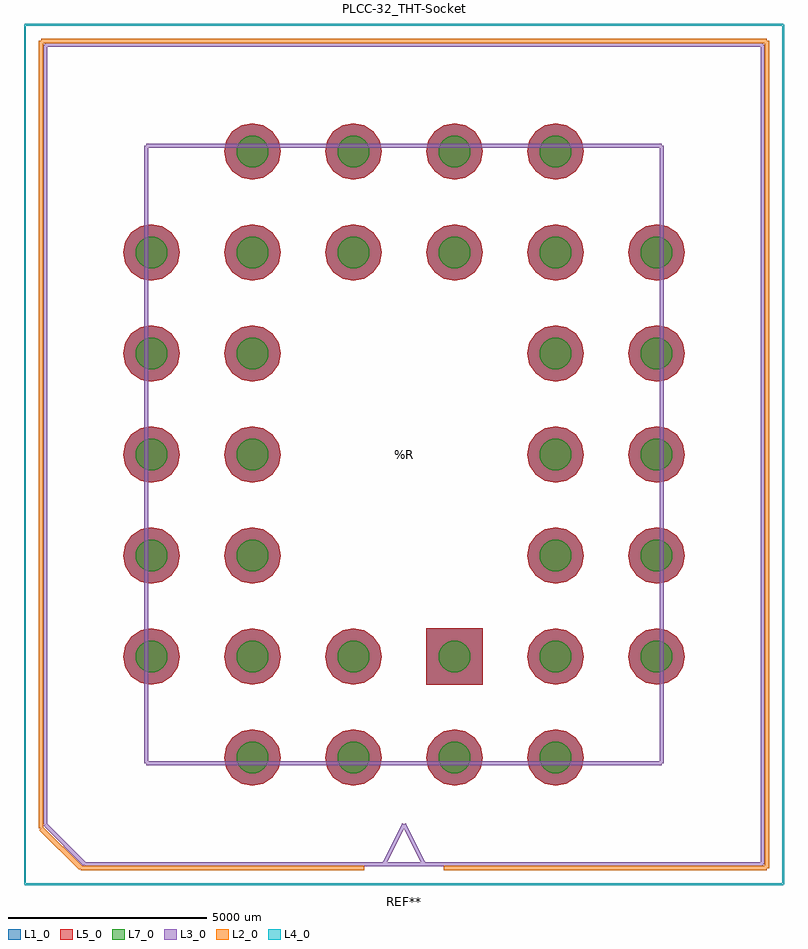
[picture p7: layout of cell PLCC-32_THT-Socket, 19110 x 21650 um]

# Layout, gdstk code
import gdstk
lib = gdstk.Library(unit=1e-6, precision=1e-09)
def R(c, l, rs):  # rectangles x0, y0, x1, y1
    for r in rs: c.add(gdstk.rectangle(r[:2], r[2:], *l))
def P(c, l, *ps):  # polygons
    for p in ps: c.add(gdstk.Polygon(p, *l))
L1_0 = (1, 0)
L2_0 = (2, 0)
L3_0 = (3, 0)
L4_0 = (4, 0)
L5_0 = (5, 0)
L7_0 = (7, 0)

plcc_32_tht_socket = lib.new_cell('PLCC-32_THT-Socket')
R(plcc_32_tht_socket, L1_0, [(-711,-711,711,711)])
P(plcc_32_tht_socket, L1_0, [(-1829,0),(-1883,272),(-2037,503),(-2268,657),(-2540,711),(-2812,657),(-3043,503),(-3197,272),(-3251,0),(-3197,-272),(-3043,-503),(-2812,-657),(-2540,-711),(-2268,-657),(-2037,-503),(-1883,-272)],
  [(3251,0),(3197,272),(3043,503),(2812,657),(2540,711),(2268,657),(2037,503),(1883,272),(1829,0),(1883,-272),(2037,-503),(2268,-657),(2540,-711),(2812,-657),(3043,-503),(3197,-272)],
  [(-1829,-2540),(-1883,-2268),(-2037,-2037),(-2268,-1883),(-2540,-1829),(-2812,-1883),(-3043,-2037),(-3197,-2268),(-3251,-2540),(-3197,-2812),(-3043,-3043),(-2812,-3197),(-2540,-3251),(-2268,-3197),(-2037,-3043),(-1883,-2812)],
  [(-4369,-2540),(-4423,-2268),(-4577,-2037),(-4808,-1883),(-5080,-1829),(-5352,-1883),(-5583,-2037),(-5737,-2268),(-5791,-2540),(-5737,-2812),(-5583,-3043),(-5352,-3197),(-5080,-3251),(-4808,-3197),(-4577,-3043),(-4423,-2812)],
  [(711,-2540),(657,-2268),(503,-2037),(272,-1883),(0,-1829),(-272,-1883),(-503,-2037),(-657,-2268),(-711,-2540),(-657,-2812),(-503,-3043),(-272,-3197),(0,-3251),(272,-3197),(503,-3043),(657,-2812)],
  [(3251,-2540),(3197,-2268),(3043,-2037),(2812,-1883),(2540,-1829),(2268,-1883),(2037,-2037),(1883,-2268),(1829,-2540),(1883,-2812),(2037,-3043),(2268,-3197),(2540,-3251),(2812,-3197),(3043,-3043),(3197,-2812)],
  [(-4369,0),(-4423,272),(-4577,503),(-4808,657),(-5080,711),(-5352,657),(-5583,503),(-5737,272),(-5791,0),(-5737,-272),(-5583,-503),(-5352,-657),(-5080,-711),(-4808,-657),(-4577,-503),(-4423,-272)],
  [(-4369,2540),(-4423,2812),(-4577,3043),(-4808,3197),(-5080,3251),(-5352,3197),(-5583,3043),(-5737,2812),(-5791,2540),(-5737,2268),(-5583,2037),(-5352,1883),(-5080,1829),(-4808,1883),(-4577,2037),(-4423,2268)],
  [(-4369,5080),(-4423,5352),(-4577,5583),(-4808,5737),(-5080,5791),(-5352,5737),(-5583,5583),(-5737,5352),(-5791,5080),(-5737,4808),(-5583,4577),(-5352,4423),(-5080,4369),(-4808,4423),(-4577,4577),(-4423,4808)],
  [(-4369,7620),(-4423,7892),(-4577,8123),(-4808,8277),(-5080,8331),(-5352,8277),(-5583,8123),(-5737,7892),(-5791,7620),(-5737,7348),(-5583,7117),(-5352,6963),(-5080,6909),(-4808,6963),(-4577,7117),(-4423,7348)],
  [(-6909,0),(-6963,272),(-7117,503),(-7348,657),(-7620,711),(-7892,657),(-8123,503),(-8277,272),(-8331,0),(-8277,-272),(-8123,-503),(-7892,-657),(-7620,-711),(-7348,-657),(-7117,-503),(-6963,-272)],
  [(-6909,2540),(-6963,2812),(-7117,3043),(-7348,3197),(-7620,3251),(-7892,3197),(-8123,3043),(-8277,2812),(-8331,2540),(-8277,2268),(-8123,2037),(-7892,1883),(-7620,1829),(-7348,1883),(-7117,2037),(-6963,2268)],
  [(-6909,5080),(-6963,5352),(-7117,5583),(-7348,5737),(-7620,5791),(-7892,5737),(-8123,5583),(-8277,5352),(-8331,5080),(-8277,4808),(-8123,4577),(-7892,4423),(-7620,4369),(-7348,4423),(-7117,4577),(-6963,4808)],
  [(-6909,7620),(-6963,7892),(-7117,8123),(-7348,8277),(-7620,8331),(-7892,8277),(-8123,8123),(-8277,7892),(-8331,7620),(-8277,7348),(-8123,7117),(-7892,6963),(-7620,6909),(-7348,6963),(-7117,7117),(-6963,7348)],
  [(-6909,10160),(-6963,10432),(-7117,10663),(-7348,10817),(-7620,10871),(-7892,10817),(-8123,10663),(-8277,10432),(-8331,10160),(-8277,9888),(-8123,9657),(-7892,9503),(-7620,9449),(-7348,9503),(-7117,9657),(-6963,9888)],
  [(-4369,10160),(-4423,10432),(-4577,10663),(-4808,10817),(-5080,10871),(-5352,10817),(-5583,10663),(-5737,10432),(-5791,10160),(-5737,9888),(-5583,9657),(-5352,9503),(-5080,9449),(-4808,9503),(-4577,9657),(-4423,9888)],
  [(-1829,10160),(-1883,10432),(-2037,10663),(-2268,10817),(-2540,10871),(-2812,10817),(-3043,10663),(-3197,10432),(-3251,10160),(-3197,9888),(-3043,9657),(-2812,9503),(-2540,9449),(-2268,9503),(-2037,9657),(-1883,9888)],
  [(711,10160),(657,10432),(503,10663),(272,10817),(0,10871),(-272,10817),(-503,10663),(-657,10432),(-711,10160),(-657,9888),(-503,9657),(-272,9503),(0,9449),(272,9503),(503,9657),(657,9888)],
  [(5791,10160),(5737,10432),(5583,10663),(5352,10817),(5080,10871),(4808,10817),(4577,10663),(4423,10432),(4369,10160),(4423,9888),(4577,9657),(4808,9503),(5080,9449),(5352,9503),(5583,9657),(5737,9888)],
  [(-4369,12700),(-4423,12972),(-4577,13203),(-4808,13357),(-5080,13411),(-5352,13357),(-5583,13203),(-5737,12972),(-5791,12700),(-5737,12428),(-5583,12197),(-5352,12043),(-5080,11989),(-4808,12043),(-4577,12197),(-4423,12428)],
  [(-1829,12700),(-1883,12972),(-2037,13203),(-2268,13357),(-2540,13411),(-2812,13357),(-3043,13203),(-3197,12972),(-3251,12700),(-3197,12428),(-3043,12197),(-2812,12043),(-2540,11989),(-2268,12043),(-2037,12197),(-1883,12428)],
  [(711,12700),(657,12972),(503,13203),(272,13357),(0,13411),(-272,13357),(-503,13203),(-657,12972),(-711,12700),(-657,12428),(-503,12197),(-272,12043),(0,11989),(272,12043),(503,12197),(657,12428)],
  [(3251,12700),(3197,12972),(3043,13203),(2812,13357),(2540,13411),(2268,13357),(2037,13203),(1883,12972),(1829,12700),(1883,12428),(2037,12197),(2268,12043),(2540,11989),(2812,12043),(3043,12197),(3197,12428)],
  [(3251,10160),(3197,10432),(3043,10663),(2812,10817),(2540,10871),(2268,10817),(2037,10663),(1883,10432),(1829,10160),(1883,9888),(2037,9657),(2268,9503),(2540,9449),(2812,9503),(3043,9657),(3197,9888)],
  [(3251,7620),(3197,7892),(3043,8123),(2812,8277),(2540,8331),(2268,8277),(2037,8123),(1883,7892),(1829,7620),(1883,7348),(2037,7117),(2268,6963),(2540,6909),(2812,6963),(3043,7117),(3197,7348)],
  [(3251,5080),(3197,5352),(3043,5583),(2812,5737),(2540,5791),(2268,5737),(2037,5583),(1883,5352),(1829,5080),(1883,4808),(2037,4577),(2268,4423),(2540,4369),(2812,4423),(3043,4577),(3197,4808)],
  [(3251,2540),(3197,2812),(3043,3043),(2812,3197),(2540,3251),(2268,3197),(2037,3043),(1883,2812),(1829,2540),(1883,2268),(2037,2037),(2268,1883),(2540,1829),(2812,1883),(3043,2037),(3197,2268)],
  [(5791,7620),(5737,7892),(5583,8123),(5352,8277),(5080,8331),(4808,8277),(4577,8123),(4423,7892),(4369,7620),(4423,7348),(4577,7117),(4808,6963),(5080,6909),(5352,6963),(5583,7117),(5737,7348)],
  [(5791,5080),(5737,5352),(5583,5583),(5352,5737),(5080,5791),(4808,5737),(4577,5583),(4423,5352),(4369,5080),(4423,4808),(4577,4577),(4808,4423),(5080,4369),(5352,4423),(5583,4577),(5737,4808)],
  [(5791,2540),(5737,2812),(5583,3043),(5352,3197),(5080,3251),(4808,3197),(4577,3043),(4423,2812),(4369,2540),(4423,2268),(4577,2037),(4808,1883),(5080,1829),(5352,1883),(5583,2037),(5737,2268)],
  [(5791,0),(5737,272),(5583,503),(5352,657),(5080,711),(4808,657),(4577,503),(4423,272),(4369,0),(4423,-272),(4577,-503),(4808,-657),(5080,-711),(5352,-657),(5583,-503),(5737,-272)])
R(plcc_32_tht_socket, L5_0, [(-711,-711,711,711)])
P(plcc_32_tht_socket, L5_0, [(-1829,0),(-1883,272),(-2037,503),(-2268,657),(-2540,711),(-2812,657),(-3043,503),(-3197,272),(-3251,0),(-3197,-272),(-3043,-503),(-2812,-657),(-2540,-711),(-2268,-657),(-2037,-503),(-1883,-272)],
  [(3251,0),(3197,272),(3043,503),(2812,657),(2540,711),(2268,657),(2037,503),(1883,272),(1829,0),(1883,-272),(2037,-503),(2268,-657),(2540,-711),(2812,-657),(3043,-503),(3197,-272)],
  [(-1829,-2540),(-1883,-2268),(-2037,-2037),(-2268,-1883),(-2540,-1829),(-2812,-1883),(-3043,-2037),(-3197,-2268),(-3251,-2540),(-3197,-2812),(-3043,-3043),(-2812,-3197),(-2540,-3251),(-2268,-3197),(-2037,-3043),(-1883,-2812)],
  [(-4369,-2540),(-4423,-2268),(-4577,-2037),(-4808,-1883),(-5080,-1829),(-5352,-1883),(-5583,-2037),(-5737,-2268),(-5791,-2540),(-5737,-2812),(-5583,-3043),(-5352,-3197),(-5080,-3251),(-4808,-3197),(-4577,-3043),(-4423,-2812)],
  [(711,-2540),(657,-2268),(503,-2037),(272,-1883),(0,-1829),(-272,-1883),(-503,-2037),(-657,-2268),(-711,-2540),(-657,-2812),(-503,-3043),(-272,-3197),(0,-3251),(272,-3197),(503,-3043),(657,-2812)],
  [(3251,-2540),(3197,-2268),(3043,-2037),(2812,-1883),(2540,-1829),(2268,-1883),(2037,-2037),(1883,-2268),(1829,-2540),(1883,-2812),(2037,-3043),(2268,-3197),(2540,-3251),(2812,-3197),(3043,-3043),(3197,-2812)],
  [(-4369,0),(-4423,272),(-4577,503),(-4808,657),(-5080,711),(-5352,657),(-5583,503),(-5737,272),(-5791,0),(-5737,-272),(-5583,-503),(-5352,-657),(-5080,-711),(-4808,-657),(-4577,-503),(-4423,-272)],
  [(-4369,2540),(-4423,2812),(-4577,3043),(-4808,3197),(-5080,3251),(-5352,3197),(-5583,3043),(-5737,2812),(-5791,2540),(-5737,2268),(-5583,2037),(-5352,1883),(-5080,1829),(-4808,1883),(-4577,2037),(-4423,2268)],
  [(-4369,5080),(-4423,5352),(-4577,5583),(-4808,5737),(-5080,5791),(-5352,5737),(-5583,5583),(-5737,5352),(-5791,5080),(-5737,4808),(-5583,4577),(-5352,4423),(-5080,4369),(-4808,4423),(-4577,4577),(-4423,4808)],
  [(-4369,7620),(-4423,7892),(-4577,8123),(-4808,8277),(-5080,8331),(-5352,8277),(-5583,8123),(-5737,7892),(-5791,7620),(-5737,7348),(-5583,7117),(-5352,6963),(-5080,6909),(-4808,6963),(-4577,7117),(-4423,7348)],
  [(-6909,0),(-6963,272),(-7117,503),(-7348,657),(-7620,711),(-7892,657),(-8123,503),(-8277,272),(-8331,0),(-8277,-272),(-8123,-503),(-7892,-657),(-7620,-711),(-7348,-657),(-7117,-503),(-6963,-272)],
  [(-6909,2540),(-6963,2812),(-7117,3043),(-7348,3197),(-7620,3251),(-7892,3197),(-8123,3043),(-8277,2812),(-8331,2540),(-8277,2268),(-8123,2037),(-7892,1883),(-7620,1829),(-7348,1883),(-7117,2037),(-6963,2268)],
  [(-6909,5080),(-6963,5352),(-7117,5583),(-7348,5737),(-7620,5791),(-7892,5737),(-8123,5583),(-8277,5352),(-8331,5080),(-8277,4808),(-8123,4577),(-7892,4423),(-7620,4369),(-7348,4423),(-7117,4577),(-6963,4808)],
  [(-6909,7620),(-6963,7892),(-7117,8123),(-7348,8277),(-7620,8331),(-7892,8277),(-8123,8123),(-8277,7892),(-8331,7620),(-8277,7348),(-8123,7117),(-7892,6963),(-7620,6909),(-7348,6963),(-7117,7117),(-6963,7348)],
  [(-6909,10160),(-6963,10432),(-7117,10663),(-7348,10817),(-7620,10871),(-7892,10817),(-8123,10663),(-8277,10432),(-8331,10160),(-8277,9888),(-8123,9657),(-7892,9503),(-7620,9449),(-7348,9503),(-7117,9657),(-6963,9888)],
  [(-4369,10160),(-4423,10432),(-4577,10663),(-4808,10817),(-5080,10871),(-5352,10817),(-5583,10663),(-5737,10432),(-5791,10160),(-5737,9888),(-5583,9657),(-5352,9503),(-5080,9449),(-4808,9503),(-4577,9657),(-4423,9888)],
  [(-1829,10160),(-1883,10432),(-2037,10663),(-2268,10817),(-2540,10871),(-2812,10817),(-3043,10663),(-3197,10432),(-3251,10160),(-3197,9888),(-3043,9657),(-2812,9503),(-2540,9449),(-2268,9503),(-2037,9657),(-1883,9888)],
  [(711,10160),(657,10432),(503,10663),(272,10817),(0,10871),(-272,10817),(-503,10663),(-657,10432),(-711,10160),(-657,9888),(-503,9657),(-272,9503),(0,9449),(272,9503),(503,9657),(657,9888)],
  [(5791,10160),(5737,10432),(5583,10663),(5352,10817),(5080,10871),(4808,10817),(4577,10663),(4423,10432),(4369,10160),(4423,9888),(4577,9657),(4808,9503),(5080,9449),(5352,9503),(5583,9657),(5737,9888)],
  [(-4369,12700),(-4423,12972),(-4577,13203),(-4808,13357),(-5080,13411),(-5352,13357),(-5583,13203),(-5737,12972),(-5791,12700),(-5737,12428),(-5583,12197),(-5352,12043),(-5080,11989),(-4808,12043),(-4577,12197),(-4423,12428)],
  [(-1829,12700),(-1883,12972),(-2037,13203),(-2268,13357),(-2540,13411),(-2812,13357),(-3043,13203),(-3197,12972),(-3251,12700),(-3197,12428),(-3043,12197),(-2812,12043),(-2540,11989),(-2268,12043),(-2037,12197),(-1883,12428)],
  [(711,12700),(657,12972),(503,13203),(272,13357),(0,13411),(-272,13357),(-503,13203),(-657,12972),(-711,12700),(-657,12428),(-503,12197),(-272,12043),(0,11989),(272,12043),(503,12197),(657,12428)],
  [(3251,12700),(3197,12972),(3043,13203),(2812,13357),(2540,13411),(2268,13357),(2037,13203),(1883,12972),(1829,12700),(1883,12428),(2037,12197),(2268,12043),(2540,11989),(2812,12043),(3043,12197),(3197,12428)],
  [(3251,10160),(3197,10432),(3043,10663),(2812,10817),(2540,10871),(2268,10817),(2037,10663),(1883,10432),(1829,10160),(1883,9888),(2037,9657),(2268,9503),(2540,9449),(2812,9503),(3043,9657),(3197,9888)],
  [(3251,7620),(3197,7892),(3043,8123),(2812,8277),(2540,8331),(2268,8277),(2037,8123),(1883,7892),(1829,7620),(1883,7348),(2037,7117),(2268,6963),(2540,6909),(2812,6963),(3043,7117),(3197,7348)],
  [(3251,5080),(3197,5352),(3043,5583),(2812,5737),(2540,5791),(2268,5737),(2037,5583),(1883,5352),(1829,5080),(1883,4808),(2037,4577),(2268,4423),(2540,4369),(2812,4423),(3043,4577),(3197,4808)],
  [(3251,2540),(3197,2812),(3043,3043),(2812,3197),(2540,3251),(2268,3197),(2037,3043),(1883,2812),(1829,2540),(1883,2268),(2037,2037),(2268,1883),(2540,1829),(2812,1883),(3043,2037),(3197,2268)],
  [(5791,7620),(5737,7892),(5583,8123),(5352,8277),(5080,8331),(4808,8277),(4577,8123),(4423,7892),(4369,7620),(4423,7348),(4577,7117),(4808,6963),(5080,6909),(5352,6963),(5583,7117),(5737,7348)],
  [(5791,5080),(5737,5352),(5583,5583),(5352,5737),(5080,5791),(4808,5737),(4577,5583),(4423,5352),(4369,5080),(4423,4808),(4577,4577),(4808,4423),(5080,4369),(5352,4423),(5583,4577),(5737,4808)],
  [(5791,2540),(5737,2812),(5583,3043),(5352,3197),(5080,3251),(4808,3197),(4577,3043),(4423,2812),(4369,2540),(4423,2268),(4577,2037),(4808,1883),(5080,1829),(5352,1883),(5583,2037),(5737,2268)],
  [(5791,0),(5737,272),(5583,503),(5352,657),(5080,711),(4808,657),(4577,503),(4423,272),(4369,0),(4423,-272),(4577,-503),(4808,-657),(5080,-711),(5352,-657),(5583,-503),(5737,-272)])
P(plcc_32_tht_socket, L7_0, [(400,0),(392,78),(370,153),(333,222),(283,283),(222,333),(153,370),(78,392),(0,400),(-78,392),(-153,370),(-222,333),(-283,283),(-333,222),(-370,153),(-392,78),(-400,0),(-392,-78),(-370,-153),(-333,-222),(-283,-283),(-222,-333),(-153,-370),(-78,-392),(0,-400),(78,-392),(153,-370),(222,-333),(283,-283),(333,-222),(370,-153),(392,-78)],
  [(-2140,0),(-2148,78),(-2170,153),(-2207,222),(-2257,283),(-2318,333),(-2387,370),(-2462,392),(-2540,400),(-2618,392),(-2693,370),(-2762,333),(-2823,283),(-2873,222),(-2910,153),(-2932,78),(-2940,0),(-2932,-78),(-2910,-153),(-2873,-222),(-2823,-283),(-2762,-333),(-2693,-370),(-2618,-392),(-2540,-400),(-2462,-392),(-2387,-370),(-2318,-333),(-2257,-283),(-2207,-222),(-2170,-153),(-2148,-78)],
  [(2940,0),(2932,78),(2910,153),(2873,222),(2823,283),(2762,333),(2693,370),(2618,392),(2540,400),(2462,392),(2387,370),(2318,333),(2257,283),(2207,222),(2170,153),(2148,78),(2140,0),(2148,-78),(2170,-153),(2207,-222),(2257,-283),(2318,-333),(2387,-370),(2462,-392),(2540,-400),(2618,-392),(2693,-370),(2762,-333),(2823,-283),(2873,-222),(2910,-153),(2932,-78)],
  [(-2140,-2540),(-2148,-2462),(-2170,-2387),(-2207,-2318),(-2257,-2257),(-2318,-2207),(-2387,-2170),(-2462,-2148),(-2540,-2140),(-2618,-2148),(-2693,-2170),(-2762,-2207),(-2823,-2257),(-2873,-2318),(-2910,-2387),(-2932,-2462),(-2940,-2540),(-2932,-2618),(-2910,-2693),(-2873,-2762),(-2823,-2823),(-2762,-2873),(-2693,-2910),(-2618,-2932),(-2540,-2940),(-2462,-2932),(-2387,-2910),(-2318,-2873),(-2257,-2823),(-2207,-2762),(-2170,-2693),(-2148,-2618)],
  [(-4680,-2540),(-4688,-2462),(-4710,-2387),(-4747,-2318),(-4797,-2257),(-4858,-2207),(-4927,-2170),(-5002,-2148),(-5080,-2140),(-5158,-2148),(-5233,-2170),(-5302,-2207),(-5363,-2257),(-5413,-2318),(-5450,-2387),(-5472,-2462),(-5480,-2540),(-5472,-2618),(-5450,-2693),(-5413,-2762),(-5363,-2823),(-5302,-2873),(-5233,-2910),(-5158,-2932),(-5080,-2940),(-5002,-2932),(-4927,-2910),(-4858,-2873),(-4797,-2823),(-4747,-2762),(-4710,-2693),(-4688,-2618)],
  [(400,-2540),(392,-2462),(370,-2387),(333,-2318),(283,-2257),(222,-2207),(153,-2170),(78,-2148),(0,-2140),(-78,-2148),(-153,-2170),(-222,-2207),(-283,-2257),(-333,-2318),(-370,-2387),(-392,-2462),(-400,-2540),(-392,-2618),(-370,-2693),(-333,-2762),(-283,-2823),(-222,-2873),(-153,-2910),(-78,-2932),(0,-2940),(78,-2932),(153,-2910),(222,-2873),(283,-2823),(333,-2762),(370,-2693),(392,-2618)],
  [(2940,-2540),(2932,-2462),(2910,-2387),(2873,-2318),(2823,-2257),(2762,-2207),(2693,-2170),(2618,-2148),(2540,-2140),(2462,-2148),(2387,-2170),(2318,-2207),(2257,-2257),(2207,-2318),(2170,-2387),(2148,-2462),(2140,-2540),(2148,-2618),(2170,-2693),(2207,-2762),(2257,-2823),(2318,-2873),(2387,-2910),(2462,-2932),(2540,-2940),(2618,-2932),(2693,-2910),(2762,-2873),(2823,-2823),(2873,-2762),(2910,-2693),(2932,-2618)],
  [(-4680,0),(-4688,78),(-4710,153),(-4747,222),(-4797,283),(-4858,333),(-4927,370),(-5002,392),(-5080,400),(-5158,392),(-5233,370),(-5302,333),(-5363,283),(-5413,222),(-5450,153),(-5472,78),(-5480,0),(-5472,-78),(-5450,-153),(-5413,-222),(-5363,-283),(-5302,-333),(-5233,-370),(-5158,-392),(-5080,-400),(-5002,-392),(-4927,-370),(-4858,-333),(-4797,-283),(-4747,-222),(-4710,-153),(-4688,-78)],
  [(-4680,2540),(-4688,2618),(-4710,2693),(-4747,2762),(-4797,2823),(-4858,2873),(-4927,2910),(-5002,2932),(-5080,2940),(-5158,2932),(-5233,2910),(-5302,2873),(-5363,2823),(-5413,2762),(-5450,2693),(-5472,2618),(-5480,2540),(-5472,2462),(-5450,2387),(-5413,2318),(-5363,2257),(-5302,2207),(-5233,2170),(-5158,2148),(-5080,2140),(-5002,2148),(-4927,2170),(-4858,2207),(-4797,2257),(-4747,2318),(-4710,2387),(-4688,2462)],
  [(-4680,5080),(-4688,5158),(-4710,5233),(-4747,5302),(-4797,5363),(-4858,5413),(-4927,5450),(-5002,5472),(-5080,5480),(-5158,5472),(-5233,5450),(-5302,5413),(-5363,5363),(-5413,5302),(-5450,5233),(-5472,5158),(-5480,5080),(-5472,5002),(-5450,4927),(-5413,4858),(-5363,4797),(-5302,4747),(-5233,4710),(-5158,4688),(-5080,4680),(-5002,4688),(-4927,4710),(-4858,4747),(-4797,4797),(-4747,4858),(-4710,4927),(-4688,5002)],
  [(-4680,7620),(-4688,7698),(-4710,7773),(-4747,7842),(-4797,7903),(-4858,7953),(-4927,7990),(-5002,8012),(-5080,8020),(-5158,8012),(-5233,7990),(-5302,7953),(-5363,7903),(-5413,7842),(-5450,7773),(-5472,7698),(-5480,7620),(-5472,7542),(-5450,7467),(-5413,7398),(-5363,7337),(-5302,7287),(-5233,7250),(-5158,7228),(-5080,7220),(-5002,7228),(-4927,7250),(-4858,7287),(-4797,7337),(-4747,7398),(-4710,7467),(-4688,7542)],
  [(-7220,0),(-7228,78),(-7250,153),(-7287,222),(-7337,283),(-7398,333),(-7467,370),(-7542,392),(-7620,400),(-7698,392),(-7773,370),(-7842,333),(-7903,283),(-7953,222),(-7990,153),(-8012,78),(-8020,0),(-8012,-78),(-7990,-153),(-7953,-222),(-7903,-283),(-7842,-333),(-7773,-370),(-7698,-392),(-7620,-400),(-7542,-392),(-7467,-370),(-7398,-333),(-7337,-283),(-7287,-222),(-7250,-153),(-7228,-78)],
  [(-7220,2540),(-7228,2618),(-7250,2693),(-7287,2762),(-7337,2823),(-7398,2873),(-7467,2910),(-7542,2932),(-7620,2940),(-7698,2932),(-7773,2910),(-7842,2873),(-7903,2823),(-7953,2762),(-7990,2693),(-8012,2618),(-8020,2540),(-8012,2462),(-7990,2387),(-7953,2318),(-7903,2257),(-7842,2207),(-7773,2170),(-7698,2148),(-7620,2140),(-7542,2148),(-7467,2170),(-7398,2207),(-7337,2257),(-7287,2318),(-7250,2387),(-7228,2462)],
  [(-7220,5080),(-7228,5158),(-7250,5233),(-7287,5302),(-7337,5363),(-7398,5413),(-7467,5450),(-7542,5472),(-7620,5480),(-7698,5472),(-7773,5450),(-7842,5413),(-7903,5363),(-7953,5302),(-7990,5233),(-8012,5158),(-8020,5080),(-8012,5002),(-7990,4927),(-7953,4858),(-7903,4797),(-7842,4747),(-7773,4710),(-7698,4688),(-7620,4680),(-7542,4688),(-7467,4710),(-7398,4747),(-7337,4797),(-7287,4858),(-7250,4927),(-7228,5002)],
  [(-7220,7620),(-7228,7698),(-7250,7773),(-7287,7842),(-7337,7903),(-7398,7953),(-7467,7990),(-7542,8012),(-7620,8020),(-7698,8012),(-7773,7990),(-7842,7953),(-7903,7903),(-7953,7842),(-7990,7773),(-8012,7698),(-8020,7620),(-8012,7542),(-7990,7467),(-7953,7398),(-7903,7337),(-7842,7287),(-7773,7250),(-7698,7228),(-7620,7220),(-7542,7228),(-7467,7250),(-7398,7287),(-7337,7337),(-7287,7398),(-7250,7467),(-7228,7542)],
  [(-7220,10160),(-7228,10238),(-7250,10313),(-7287,10382),(-7337,10443),(-7398,10493),(-7467,10530),(-7542,10552),(-7620,10560),(-7698,10552),(-7773,10530),(-7842,10493),(-7903,10443),(-7953,10382),(-7990,10313),(-8012,10238),(-8020,10160),(-8012,10082),(-7990,10007),(-7953,9938),(-7903,9877),(-7842,9827),(-7773,9790),(-7698,9768),(-7620,9760),(-7542,9768),(-7467,9790),(-7398,9827),(-7337,9877),(-7287,9938),(-7250,10007),(-7228,10082)],
  [(-4680,10160),(-4688,10238),(-4710,10313),(-4747,10382),(-4797,10443),(-4858,10493),(-4927,10530),(-5002,10552),(-5080,10560),(-5158,10552),(-5233,10530),(-5302,10493),(-5363,10443),(-5413,10382),(-5450,10313),(-5472,10238),(-5480,10160),(-5472,10082),(-5450,10007),(-5413,9938),(-5363,9877),(-5302,9827),(-5233,9790),(-5158,9768),(-5080,9760),(-5002,9768),(-4927,9790),(-4858,9827),(-4797,9877),(-4747,9938),(-4710,10007),(-4688,10082)],
  [(-2140,10160),(-2148,10238),(-2170,10313),(-2207,10382),(-2257,10443),(-2318,10493),(-2387,10530),(-2462,10552),(-2540,10560),(-2618,10552),(-2693,10530),(-2762,10493),(-2823,10443),(-2873,10382),(-2910,10313),(-2932,10238),(-2940,10160),(-2932,10082),(-2910,10007),(-2873,9938),(-2823,9877),(-2762,9827),(-2693,9790),(-2618,9768),(-2540,9760),(-2462,9768),(-2387,9790),(-2318,9827),(-2257,9877),(-2207,9938),(-2170,10007),(-2148,10082)],
  [(400,10160),(392,10238),(370,10313),(333,10382),(283,10443),(222,10493),(153,10530),(78,10552),(0,10560),(-78,10552),(-153,10530),(-222,10493),(-283,10443),(-333,10382),(-370,10313),(-392,10238),(-400,10160),(-392,10082),(-370,10007),(-333,9938),(-283,9877),(-222,9827),(-153,9790),(-78,9768),(0,9760),(78,9768),(153,9790),(222,9827),(283,9877),(333,9938),(370,10007),(392,10082)],
  [(5480,10160),(5472,10238),(5450,10313),(5413,10382),(5363,10443),(5302,10493),(5233,10530),(5158,10552),(5080,10560),(5002,10552),(4927,10530),(4858,10493),(4797,10443),(4747,10382),(4710,10313),(4688,10238),(4680,10160),(4688,10082),(4710,10007),(4747,9938),(4797,9877),(4858,9827),(4927,9790),(5002,9768),(5080,9760),(5158,9768),(5233,9790),(5302,9827),(5363,9877),(5413,9938),(5450,10007),(5472,10082)],
  [(-4680,12700),(-4688,12778),(-4710,12853),(-4747,12922),(-4797,12983),(-4858,13033),(-4927,13070),(-5002,13092),(-5080,13100),(-5158,13092),(-5233,13070),(-5302,13033),(-5363,12983),(-5413,12922),(-5450,12853),(-5472,12778),(-5480,12700),(-5472,12622),(-5450,12547),(-5413,12478),(-5363,12417),(-5302,12367),(-5233,12330),(-5158,12308),(-5080,12300),(-5002,12308),(-4927,12330),(-4858,12367),(-4797,12417),(-4747,12478),(-4710,12547),(-4688,12622)],
  [(-2140,12700),(-2148,12778),(-2170,12853),(-2207,12922),(-2257,12983),(-2318,13033),(-2387,13070),(-2462,13092),(-2540,13100),(-2618,13092),(-2693,13070),(-2762,13033),(-2823,12983),(-2873,12922),(-2910,12853),(-2932,12778),(-2940,12700),(-2932,12622),(-2910,12547),(-2873,12478),(-2823,12417),(-2762,12367),(-2693,12330),(-2618,12308),(-2540,12300),(-2462,12308),(-2387,12330),(-2318,12367),(-2257,12417),(-2207,12478),(-2170,12547),(-2148,12622)],
  [(400,12700),(392,12778),(370,12853),(333,12922),(283,12983),(222,13033),(153,13070),(78,13092),(0,13100),(-78,13092),(-153,13070),(-222,13033),(-283,12983),(-333,12922),(-370,12853),(-392,12778),(-400,12700),(-392,12622),(-370,12547),(-333,12478),(-283,12417),(-222,12367),(-153,12330),(-78,12308),(0,12300),(78,12308),(153,12330),(222,12367),(283,12417),(333,12478),(370,12547),(392,12622)],
  [(2940,12700),(2932,12778),(2910,12853),(2873,12922),(2823,12983),(2762,13033),(2693,13070),(2618,13092),(2540,13100),(2462,13092),(2387,13070),(2318,13033),(2257,12983),(2207,12922),(2170,12853),(2148,12778),(2140,12700),(2148,12622),(2170,12547),(2207,12478),(2257,12417),(2318,12367),(2387,12330),(2462,12308),(2540,12300),(2618,12308),(2693,12330),(2762,12367),(2823,12417),(2873,12478),(2910,12547),(2932,12622)],
  [(2940,10160),(2932,10238),(2910,10313),(2873,10382),(2823,10443),(2762,10493),(2693,10530),(2618,10552),(2540,10560),(2462,10552),(2387,10530),(2318,10493),(2257,10443),(2207,10382),(2170,10313),(2148,10238),(2140,10160),(2148,10082),(2170,10007),(2207,9938),(2257,9877),(2318,9827),(2387,9790),(2462,9768),(2540,9760),(2618,9768),(2693,9790),(2762,9827),(2823,9877),(2873,9938),(2910,10007),(2932,10082)],
  [(2940,7620),(2932,7698),(2910,7773),(2873,7842),(2823,7903),(2762,7953),(2693,7990),(2618,8012),(2540,8020),(2462,8012),(2387,7990),(2318,7953),(2257,7903),(2207,7842),(2170,7773),(2148,7698),(2140,7620),(2148,7542),(2170,7467),(2207,7398),(2257,7337),(2318,7287),(2387,7250),(2462,7228),(2540,7220),(2618,7228),(2693,7250),(2762,7287),(2823,7337),(2873,7398),(2910,7467),(2932,7542)],
  [(2940,5080),(2932,5158),(2910,5233),(2873,5302),(2823,5363),(2762,5413),(2693,5450),(2618,5472),(2540,5480),(2462,5472),(2387,5450),(2318,5413),(2257,5363),(2207,5302),(2170,5233),(2148,5158),(2140,5080),(2148,5002),(2170,4927),(2207,4858),(2257,4797),(2318,4747),(2387,4710),(2462,4688),(2540,4680),(2618,4688),(2693,4710),(2762,4747),(2823,4797),(2873,4858),(2910,4927),(2932,5002)],
  [(2940,2540),(2932,2618),(2910,2693),(2873,2762),(2823,2823),(2762,2873),(2693,2910),(2618,2932),(2540,2940),(2462,2932),(2387,2910),(2318,2873),(2257,2823),(2207,2762),(2170,2693),(2148,2618),(2140,2540),(2148,2462),(2170,2387),(2207,2318),(2257,2257),(2318,2207),(2387,2170),(2462,2148),(2540,2140),(2618,2148),(2693,2170),(2762,2207),(2823,2257),(2873,2318),(2910,2387),(2932,2462)],
  [(5480,7620),(5472,7698),(5450,7773),(5413,7842),(5363,7903),(5302,7953),(5233,7990),(5158,8012),(5080,8020),(5002,8012),(4927,7990),(4858,7953),(4797,7903),(4747,7842),(4710,7773),(4688,7698),(4680,7620),(4688,7542),(4710,7467),(4747,7398),(4797,7337),(4858,7287),(4927,7250),(5002,7228),(5080,7220),(5158,7228),(5233,7250),(5302,7287),(5363,7337),(5413,7398),(5450,7467),(5472,7542)],
  [(5480,5080),(5472,5158),(5450,5233),(5413,5302),(5363,5363),(5302,5413),(5233,5450),(5158,5472),(5080,5480),(5002,5472),(4927,5450),(4858,5413),(4797,5363),(4747,5302),(4710,5233),(4688,5158),(4680,5080),(4688,5002),(4710,4927),(4747,4858),(4797,4797),(4858,4747),(4927,4710),(5002,4688),(5080,4680),(5158,4688),(5233,4710),(5302,4747),(5363,4797),(5413,4858),(5450,4927),(5472,5002)],
  [(5480,2540),(5472,2618),(5450,2693),(5413,2762),(5363,2823),(5302,2873),(5233,2910),(5158,2932),(5080,2940),(5002,2932),(4927,2910),(4858,2873),(4797,2823),(4747,2762),(4710,2693),(4688,2618),(4680,2540),(4688,2462),(4710,2387),(4747,2318),(4797,2257),(4858,2207),(4927,2170),(5002,2148),(5080,2140),(5158,2148),(5233,2170),(5302,2207),(5363,2257),(5413,2318),(5450,2387),(5472,2462)],
  [(5480,0),(5472,78),(5450,153),(5413,222),(5363,283),(5302,333),(5233,370),(5158,392),(5080,400),(5002,392),(4927,370),(4858,333),(4797,283),(4747,222),(4710,153),(4688,78),(4680,0),(4688,-78),(4710,-153),(4747,-222),(4797,-283),(4858,-333),(4927,-370),(5002,-392),(5080,-400),(5158,-392),(5233,-370),(5302,-333),(5363,-283),(5413,-222),(5450,-153),(5472,-78)])
plcc_32_tht_socket.add(gdstk.FlexPath([(-9295,-5220),(-10295,-4220)], 100, ends="flush", simple_path=True, layer=3, datatype=0))  # L3_0
plcc_32_tht_socket.add(gdstk.FlexPath([(-10295,-4220),(-10295,15380)], 100, ends="flush", simple_path=True, layer=3, datatype=0))  # L3_0
plcc_32_tht_socket.add(gdstk.FlexPath([(-10295,15380),(7755,15380)], 100, ends="flush", simple_path=True, layer=3, datatype=0))  # L3_0
plcc_32_tht_socket.add(gdstk.FlexPath([(7755,15380),(7755,-5220)], 100, ends="flush", simple_path=True, layer=3, datatype=0))  # L3_0
plcc_32_tht_socket.add(gdstk.FlexPath([(7755,-5220),(-9295,-5220)], 100, ends="flush", simple_path=True, layer=3, datatype=0))  # L3_0
plcc_32_tht_socket.add(gdstk.FlexPath([(-10800,-5720),(-10800,15880)], 50, ends="flush", simple_path=True, layer=4, datatype=0))  # L4_0
plcc_32_tht_socket.add(gdstk.FlexPath([(-10800,15880),(8260,15880)], 50, ends="flush", simple_path=True, layer=4, datatype=0))  # L4_0
plcc_32_tht_socket.add(gdstk.FlexPath([(8260,15880),(8260,-5720)], 50, ends="flush", simple_path=True, layer=4, datatype=0))  # L4_0
plcc_32_tht_socket.add(gdstk.FlexPath([(8260,-5720),(-10800,-5720)], 50, ends="flush", simple_path=True, layer=4, datatype=0))  # L4_0
plcc_32_tht_socket.add(gdstk.FlexPath([(-7755,-2680),(-7755,12840)], 100, ends="flush", simple_path=True, layer=3, datatype=0))  # L3_0
plcc_32_tht_socket.add(gdstk.FlexPath([(-7755,12840),(5215,12840)], 100, ends="flush", simple_path=True, layer=3, datatype=0))  # L3_0
plcc_32_tht_socket.add(gdstk.FlexPath([(5215,12840),(5215,-2680)], 100, ends="flush", simple_path=True, layer=3, datatype=0))  # L3_0
plcc_32_tht_socket.add(gdstk.FlexPath([(5215,-2680),(-7755,-2680)], 100, ends="flush", simple_path=True, layer=3, datatype=0))  # L3_0
plcc_32_tht_socket.add(gdstk.FlexPath([(-1770,-5220),(-1270,-4220)], 100, ends="flush", simple_path=True, layer=3, datatype=0))  # L3_0
plcc_32_tht_socket.add(gdstk.FlexPath([(-1270,-4220),(-770,-5220)], 100, ends="flush", simple_path=True, layer=3, datatype=0))  # L3_0
plcc_32_tht_socket.add(gdstk.FlexPath([(-2270,-5320),(-9395,-5320)], 120, ends="flush", simple_path=True, layer=2, datatype=0))  # L2_0
plcc_32_tht_socket.add(gdstk.FlexPath([(-9395,-5320),(-10395,-4320)], 120, ends="flush", simple_path=True, layer=2, datatype=0))  # L2_0
plcc_32_tht_socket.add(gdstk.FlexPath([(-10395,-4320),(-10395,15480)], 120, ends="flush", simple_path=True, layer=2, datatype=0))  # L2_0
plcc_32_tht_socket.add(gdstk.FlexPath([(-10395,15480),(7855,15480)], 120, ends="flush", simple_path=True, layer=2, datatype=0))  # L2_0
plcc_32_tht_socket.add(gdstk.FlexPath([(7855,15480),(7855,-5320)], 120, ends="flush", simple_path=True, layer=2, datatype=0))  # L2_0
plcc_32_tht_socket.add(gdstk.FlexPath([(7855,-5320),(-270,-5320)], 120, ends="flush", simple_path=True, layer=2, datatype=0))  # L2_0
plcc_32_tht_socket.add(gdstk.Label('REF**', (-1270,-6220), layer=2, texttype=0))
plcc_32_tht_socket.add(gdstk.Label('PLCC-32_THT-Socket', (-1270,16380), layer=3, texttype=0))
plcc_32_tht_socket.add(gdstk.Label('%R', (-1270,5080), layer=3, texttype=0))

lib.write_gds('PLCC-32_THT-Socket.gds')
